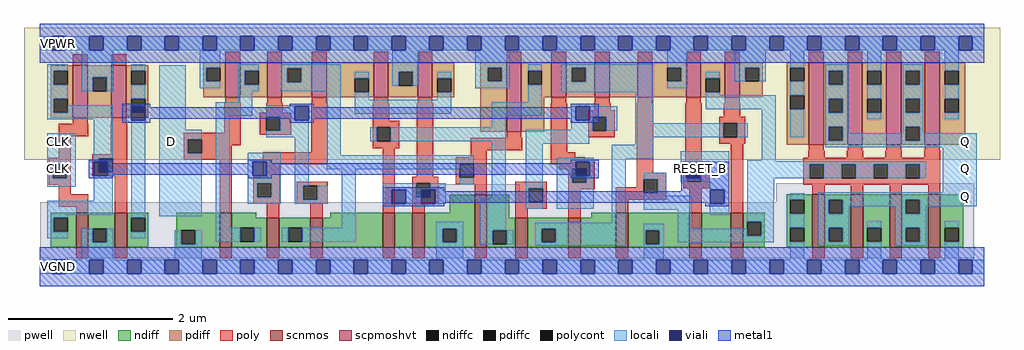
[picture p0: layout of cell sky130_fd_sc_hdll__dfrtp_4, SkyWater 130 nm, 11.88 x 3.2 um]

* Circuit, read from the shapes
.subckt sky130_fd_sc_hdll__dfrtp_4 CLK D RESET_B VGND VNB VPB VPWR Q
XM1 VGND CLK n1 VNB sky130_fd_pr__nfet_01v8 w=0.42 l=0.15
XM2 n2 n1 VGND VNB sky130_fd_pr__nfet_01v8 w=0.42 l=0.15
XM3 n3 D VGND VNB sky130_fd_pr__nfet_01v8 w=0.42 l=0.15
XM4 n4 n1 n3 VNB sky130_fd_pr__nfet_01v8 w=0.36 l=0.15
XM5 n5 n2 n4 VNB sky130_fd_pr__nfet_01v8 w=0.36 l=0.15
XM6 n6 n7 n5 VNB sky130_fd_pr__nfet_01v8 w=0.42 l=0.15
XM7 VGND RESET_B n6 VNB sky130_fd_pr__nfet_01v8 w=0.42 l=0.15
XM8 n7 n4 VGND VNB sky130_fd_pr__nfet_01v8 w=0.64 l=0.15
XM9 n8 n2 n7 VNB sky130_fd_pr__nfet_01v8 w=0.36 l=0.15
XM10 n9 n1 n8 VNB sky130_fd_pr__nfet_01v8 w=0.36 l=0.15
XM11 VGND n10 n9 VNB sky130_fd_pr__nfet_01v8 w=0.42 l=0.15
XM12 n11 RESET_B VGND VNB sky130_fd_pr__nfet_01v8 w=0.42 l=0.15
XM13 n10 n8 n11 VNB sky130_fd_pr__nfet_01v8 w=0.42 l=0.15
XM14 Q n10 VGND VNB sky130_fd_pr__nfet_01v8 w=0.65 l=0.15 m=4
XM15 VPWR CLK n1 VPB sky130_fd_pr__pfet_01v8_hvt w=0.64 l=0.18
XM16 n2 n1 VPWR VPB sky130_fd_pr__pfet_01v8_hvt w=0.64 l=0.18
XM17 n3 D VPWR VPB sky130_fd_pr__pfet_01v8_hvt w=0.42 l=0.18
XM18 n4 n2 n3 VPB sky130_fd_pr__pfet_01v8_hvt w=0.42 l=0.18
XM19 n12 n1 n4 VPB sky130_fd_pr__pfet_01v8_hvt w=0.42 l=0.18
XM20 VPWR n7 n12 VPB sky130_fd_pr__pfet_01v8_hvt w=0.42 l=0.18
XM21 n12 RESET_B VPWR VPB sky130_fd_pr__pfet_01v8_hvt w=0.42 l=0.18
XM22 n7 n4 VPWR VPB sky130_fd_pr__pfet_01v8_hvt w=0.84 l=0.18
XM23 n8 n1 n7 VPB sky130_fd_pr__pfet_01v8_hvt w=0.42 l=0.18
XM24 n13 n2 n8 VPB sky130_fd_pr__pfet_01v8_hvt w=0.42 l=0.18
XM25 VPWR n10 n13 VPB sky130_fd_pr__pfet_01v8_hvt w=0.42 l=0.18
XM26 n10 RESET_B VPWR VPB sky130_fd_pr__pfet_01v8_hvt w=0.42 l=0.18
XM27 VPWR n8 n10 VPB sky130_fd_pr__pfet_01v8_hvt w=0.42 l=0.18
XM28 Q n10 VPWR VPB sky130_fd_pr__pfet_01v8_hvt w=1 l=0.18 m=4
.ends

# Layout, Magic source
magic
tech sky130A
magscale 1 2
<< nwell >>
rect -38 261 2338 582
<< pwell >>
rect 973 157 1169 201
rect 1793 157 2275 203
rect 1 21 2275 157
rect 29 -17 63 21
<< scnmos >>
rect 89 47 119 131
rect 183 47 213 131
rect 438 47 468 131
rect 553 47 583 119
rect 659 47 689 119
rect 835 47 865 131
rect 907 47 937 131
rect 1059 47 1089 175
rect 1158 47 1188 119
rect 1287 47 1317 119
rect 1403 47 1433 131
rect 1582 47 1612 131
rect 1683 47 1713 131
rect 1881 47 1911 177
rect 1975 47 2005 177
rect 2069 47 2099 177
rect 2163 47 2193 177
<< scpmoshvt >>
rect 81 363 117 491
rect 175 363 211 491
rect 452 413 488 497
rect 554 413 590 497
rect 663 413 699 497
rect 813 413 849 497
rect 920 413 956 497
rect 1137 329 1173 497
rect 1246 413 1282 497
rect 1352 413 1388 497
rect 1456 413 1492 497
rect 1574 413 1610 497
rect 1668 413 1704 497
rect 1873 297 1909 497
rect 1967 297 2003 497
rect 2061 297 2097 497
rect 2155 297 2191 497
<< ndiff >>
rect 27 119 89 131
rect 27 85 35 119
rect 69 85 89 119
rect 27 47 89 85
rect 119 93 183 131
rect 119 59 129 93
rect 163 59 183 93
rect 119 47 183 59
rect 213 119 265 131
rect 213 85 223 119
rect 257 85 265 119
rect 213 47 265 85
rect 333 89 438 131
rect 333 55 345 89
rect 379 55 438 89
rect 333 47 438 55
rect 468 119 528 131
rect 999 131 1059 175
rect 707 119 835 131
rect 468 95 553 119
rect 468 61 488 95
rect 522 61 553 95
rect 468 47 553 61
rect 583 95 659 119
rect 583 61 605 95
rect 639 61 659 95
rect 583 47 659 61
rect 689 47 835 119
rect 865 47 907 131
rect 937 93 1059 131
rect 937 59 981 93
rect 1015 59 1059 93
rect 937 47 1059 59
rect 1089 119 1143 175
rect 1819 163 1881 177
rect 1343 119 1403 131
rect 1089 89 1158 119
rect 1089 55 1103 89
rect 1137 55 1158 89
rect 1089 47 1158 55
rect 1188 93 1287 119
rect 1188 59 1223 93
rect 1257 59 1287 93
rect 1188 47 1287 59
rect 1317 47 1403 119
rect 1433 89 1582 131
rect 1433 55 1475 89
rect 1509 55 1582 89
rect 1433 47 1582 55
rect 1612 47 1683 131
rect 1713 109 1765 131
rect 1713 75 1723 109
rect 1757 75 1765 109
rect 1713 47 1765 75
rect 1819 129 1827 163
rect 1861 129 1881 163
rect 1819 95 1881 129
rect 1819 61 1827 95
rect 1861 61 1881 95
rect 1819 47 1881 61
rect 1911 163 1975 177
rect 1911 129 1921 163
rect 1955 129 1975 163
rect 1911 95 1975 129
rect 1911 61 1921 95
rect 1955 61 1975 95
rect 1911 47 1975 61
rect 2005 95 2069 177
rect 2005 61 2015 95
rect 2049 61 2069 95
rect 2005 47 2069 61
rect 2099 163 2163 177
rect 2099 129 2109 163
rect 2143 129 2163 163
rect 2099 95 2163 129
rect 2099 61 2109 95
rect 2143 61 2163 95
rect 2099 47 2163 61
rect 2193 95 2249 177
rect 2193 61 2203 95
rect 2237 61 2249 95
rect 2193 47 2249 61
<< pdiff >>
rect 27 477 81 491
rect 27 443 35 477
rect 69 443 81 477
rect 27 409 81 443
rect 27 375 35 409
rect 69 375 81 409
rect 27 363 81 375
rect 117 461 175 491
rect 117 427 129 461
rect 163 427 175 461
rect 117 363 175 427
rect 211 477 265 491
rect 211 443 223 477
rect 257 443 265 477
rect 211 409 265 443
rect 398 485 452 497
rect 398 451 406 485
rect 440 451 452 485
rect 398 413 452 451
rect 488 477 554 497
rect 488 443 500 477
rect 534 443 554 477
rect 488 413 554 443
rect 590 483 663 497
rect 590 449 603 483
rect 637 449 663 483
rect 590 413 663 449
rect 699 459 813 497
rect 699 425 767 459
rect 801 425 813 459
rect 699 413 813 425
rect 849 475 920 497
rect 849 441 874 475
rect 908 441 920 475
rect 849 413 920 441
rect 956 459 1010 497
rect 956 425 968 459
rect 1002 425 1010 459
rect 956 413 1010 425
rect 1073 485 1137 497
rect 1073 451 1091 485
rect 1125 451 1137 485
rect 211 375 223 409
rect 257 375 265 409
rect 211 363 265 375
rect 1073 329 1137 451
rect 1173 477 1246 497
rect 1173 443 1189 477
rect 1223 443 1246 477
rect 1173 413 1246 443
rect 1282 484 1352 497
rect 1282 450 1296 484
rect 1330 450 1352 484
rect 1282 413 1352 450
rect 1388 413 1456 497
rect 1492 485 1574 497
rect 1492 451 1528 485
rect 1562 451 1574 485
rect 1492 413 1574 451
rect 1610 459 1668 497
rect 1610 425 1622 459
rect 1656 425 1668 459
rect 1610 413 1668 425
rect 1704 485 1760 497
rect 1704 451 1718 485
rect 1752 451 1760 485
rect 1704 413 1760 451
rect 1819 485 1873 497
rect 1819 451 1827 485
rect 1861 451 1873 485
rect 1819 417 1873 451
rect 1173 329 1229 413
rect 1819 383 1827 417
rect 1861 383 1873 417
rect 1819 297 1873 383
rect 1909 477 1967 497
rect 1909 443 1921 477
rect 1955 443 1967 477
rect 1909 409 1967 443
rect 1909 375 1921 409
rect 1955 375 1967 409
rect 1909 341 1967 375
rect 1909 307 1921 341
rect 1955 307 1967 341
rect 1909 297 1967 307
rect 2003 477 2061 497
rect 2003 443 2015 477
rect 2049 443 2061 477
rect 2003 409 2061 443
rect 2003 375 2015 409
rect 2049 375 2061 409
rect 2003 297 2061 375
rect 2097 477 2155 497
rect 2097 443 2109 477
rect 2143 443 2155 477
rect 2097 409 2155 443
rect 2097 375 2109 409
rect 2143 375 2155 409
rect 2097 341 2155 375
rect 2097 307 2109 341
rect 2143 307 2155 341
rect 2097 297 2155 307
rect 2191 477 2254 497
rect 2191 443 2203 477
rect 2237 443 2254 477
rect 2191 409 2254 443
rect 2191 375 2203 409
rect 2237 375 2254 409
rect 2191 297 2254 375
<< ndiffc >>
rect 35 85 69 119
rect 129 59 163 93
rect 223 85 257 119
rect 345 55 379 89
rect 488 61 522 95
rect 605 61 639 95
rect 981 59 1015 93
rect 1103 55 1137 89
rect 1223 59 1257 93
rect 1475 55 1509 89
rect 1723 75 1757 109
rect 1827 129 1861 163
rect 1827 61 1861 95
rect 1921 129 1955 163
rect 1921 61 1955 95
rect 2015 61 2049 95
rect 2109 129 2143 163
rect 2109 61 2143 95
rect 2203 61 2237 95
<< pdiffc >>
rect 35 443 69 477
rect 35 375 69 409
rect 129 427 163 461
rect 223 443 257 477
rect 406 451 440 485
rect 500 443 534 477
rect 603 449 637 483
rect 767 425 801 459
rect 874 441 908 475
rect 968 425 1002 459
rect 1091 451 1125 485
rect 223 375 257 409
rect 1189 443 1223 477
rect 1296 450 1330 484
rect 1528 451 1562 485
rect 1622 425 1656 459
rect 1718 451 1752 485
rect 1827 451 1861 485
rect 1827 383 1861 417
rect 1921 443 1955 477
rect 1921 375 1955 409
rect 1921 307 1955 341
rect 2015 443 2049 477
rect 2015 375 2049 409
rect 2109 443 2143 477
rect 2109 375 2143 409
rect 2109 307 2143 341
rect 2203 443 2237 477
rect 2203 375 2237 409
<< poly >>
rect 81 491 117 517
rect 175 491 211 517
rect 452 497 488 523
rect 554 497 590 523
rect 663 497 699 523
rect 813 497 849 523
rect 920 497 956 523
rect 1137 497 1173 523
rect 1246 497 1282 523
rect 1352 497 1388 523
rect 1456 497 1492 523
rect 1574 497 1610 523
rect 1668 497 1704 523
rect 1873 497 1909 523
rect 1967 497 2003 523
rect 2061 497 2097 523
rect 2155 497 2191 523
rect 452 398 488 413
rect 554 398 590 413
rect 663 398 699 413
rect 813 398 849 413
rect 920 398 956 413
rect 81 348 117 363
rect 175 348 211 363
rect 46 318 119 348
rect 46 265 76 318
rect 173 274 213 348
rect 450 326 490 398
rect 552 375 592 398
rect 22 249 76 265
rect 22 215 32 249
rect 66 215 76 249
rect 128 264 213 274
rect 128 230 144 264
rect 178 230 213 264
rect 351 310 490 326
rect 536 365 612 375
rect 536 331 552 365
rect 586 331 612 365
rect 536 321 612 331
rect 351 276 361 310
rect 395 296 490 310
rect 395 276 468 296
rect 661 279 701 398
rect 811 355 851 398
rect 811 339 876 355
rect 811 305 821 339
rect 855 305 876 339
rect 811 289 876 305
rect 351 260 468 276
rect 128 220 213 230
rect 22 199 76 215
rect 46 176 76 199
rect 46 146 119 176
rect 89 131 119 146
rect 183 131 213 220
rect 438 131 468 260
rect 543 249 701 279
rect 543 219 584 249
rect 520 203 584 219
rect 520 169 530 203
rect 564 169 584 203
rect 520 153 584 169
rect 626 197 702 207
rect 626 163 642 197
rect 676 163 702 197
rect 626 153 702 163
rect 553 119 583 153
rect 659 119 689 153
rect 835 131 865 289
rect 918 219 958 398
rect 1246 398 1282 413
rect 1352 398 1388 413
rect 1456 398 1492 413
rect 1574 398 1610 413
rect 1668 398 1704 413
rect 1137 314 1173 329
rect 1049 284 1175 314
rect 1049 267 1089 284
rect 1013 251 1089 267
rect 907 203 971 219
rect 907 169 917 203
rect 951 169 971 203
rect 1013 217 1023 251
rect 1057 217 1089 251
rect 1244 279 1284 398
rect 1350 381 1390 398
rect 1336 365 1400 381
rect 1336 331 1346 365
rect 1380 331 1400 365
rect 1336 315 1400 331
rect 1244 267 1304 279
rect 1244 255 1327 267
rect 1244 249 1351 255
rect 1265 239 1351 249
rect 1265 237 1297 239
rect 1013 201 1089 217
rect 1059 175 1089 201
rect 1158 191 1235 207
rect 907 153 971 169
rect 907 131 937 153
rect 1158 157 1191 191
rect 1225 157 1235 191
rect 1158 141 1235 157
rect 1287 205 1297 237
rect 1331 205 1351 239
rect 1287 189 1351 205
rect 1454 229 1494 398
rect 1572 257 1612 398
rect 1666 365 1706 398
rect 1654 349 1718 365
rect 1654 315 1664 349
rect 1698 315 1718 349
rect 1654 299 1718 315
rect 1567 241 1631 257
rect 1454 213 1525 229
rect 1454 193 1471 213
rect 1158 119 1188 141
rect 1287 119 1317 189
rect 1403 179 1471 193
rect 1505 179 1525 213
rect 1567 207 1577 241
rect 1611 207 1631 241
rect 1567 191 1631 207
rect 1403 163 1525 179
rect 1403 131 1433 163
rect 1582 131 1612 191
rect 1683 131 1713 299
rect 1873 282 1909 297
rect 1967 282 2003 297
rect 2061 282 2097 297
rect 2155 282 2191 297
rect 1871 265 1911 282
rect 1965 265 2005 282
rect 2059 265 2099 282
rect 2153 265 2193 282
rect 1859 249 2193 265
rect 1859 215 1875 249
rect 1909 215 1953 249
rect 1987 215 2031 249
rect 2065 215 2109 249
rect 2143 215 2193 249
rect 1859 199 2193 215
rect 1881 177 1911 199
rect 1975 177 2005 199
rect 2069 177 2099 199
rect 2163 177 2193 199
rect 89 21 119 47
rect 183 21 213 47
rect 438 21 468 47
rect 553 21 583 47
rect 659 21 689 47
rect 835 21 865 47
rect 907 21 937 47
rect 1059 21 1089 47
rect 1158 21 1188 47
rect 1287 21 1317 47
rect 1403 21 1433 47
rect 1582 21 1612 47
rect 1683 21 1713 47
rect 1881 21 1911 47
rect 1975 21 2005 47
rect 2069 21 2099 47
rect 2163 21 2193 47
<< polycont >>
rect 32 215 66 249
rect 144 230 178 264
rect 552 331 586 365
rect 361 276 395 310
rect 821 305 855 339
rect 530 169 564 203
rect 642 163 676 197
rect 917 169 951 203
rect 1023 217 1057 251
rect 1346 331 1380 365
rect 1191 157 1225 191
rect 1297 205 1331 239
rect 1664 315 1698 349
rect 1471 179 1505 213
rect 1577 207 1611 241
rect 1875 215 1909 249
rect 1953 215 1987 249
rect 2031 215 2065 249
rect 2109 215 2143 249
<< locali >>
rect 0 527 29 561
rect 63 527 121 561
rect 155 527 213 561
rect 247 527 305 561
rect 339 527 397 561
rect 431 527 489 561
rect 523 527 581 561
rect 615 527 673 561
rect 707 527 765 561
rect 799 527 857 561
rect 891 527 949 561
rect 983 527 1041 561
rect 1075 527 1133 561
rect 1167 527 1225 561
rect 1259 527 1317 561
rect 1351 527 1409 561
rect 1443 527 1501 561
rect 1535 527 1593 561
rect 1627 527 1685 561
rect 1719 527 1777 561
rect 1811 527 1869 561
rect 1903 527 1961 561
rect 1995 527 2053 561
rect 2087 527 2145 561
rect 2179 527 2237 561
rect 2271 527 2300 561
rect 18 477 69 493
rect 18 443 35 477
rect 18 409 69 443
rect 103 461 179 527
rect 103 427 129 461
rect 163 427 179 461
rect 223 477 257 493
rect 18 375 35 409
rect 223 409 257 443
rect 69 375 178 393
rect 18 359 178 375
rect 18 249 88 325
rect 18 215 32 249
rect 66 215 88 249
rect 18 195 88 215
rect 132 264 178 359
rect 132 255 144 264
rect 166 221 178 230
rect 132 161 178 221
rect 18 127 178 161
rect 18 119 69 127
rect 18 85 35 119
rect 223 119 257 357
rect 291 333 356 490
rect 390 485 440 527
rect 390 451 406 485
rect 390 435 440 451
rect 484 477 534 493
rect 484 443 500 477
rect 484 427 534 443
rect 587 483 733 493
rect 587 449 603 483
rect 637 449 733 483
rect 858 475 924 527
rect 1061 485 1145 527
rect 587 427 733 449
rect 484 401 518 427
rect 429 367 518 401
rect 552 391 655 393
rect 291 310 395 333
rect 291 276 361 310
rect 291 123 395 276
rect 18 69 69 85
rect 103 59 129 93
rect 163 59 179 93
rect 429 95 463 367
rect 552 365 621 391
rect 586 357 621 365
rect 586 331 655 357
rect 552 315 655 331
rect 507 255 587 277
rect 507 221 519 255
rect 553 221 587 255
rect 507 203 587 221
rect 507 169 530 203
rect 564 169 587 203
rect 507 153 587 169
rect 621 197 655 315
rect 699 271 733 427
rect 767 459 801 475
rect 858 441 874 475
rect 908 441 924 475
rect 968 459 1002 475
rect 767 407 801 425
rect 1061 451 1091 485
rect 1125 451 1145 485
rect 1061 435 1145 451
rect 1189 477 1223 493
rect 968 407 1002 425
rect 767 373 1002 407
rect 1189 401 1223 443
rect 1270 484 1494 493
rect 1270 450 1296 484
rect 1330 450 1494 484
rect 1270 425 1494 450
rect 1528 485 1578 527
rect 1562 451 1578 485
rect 1692 485 1768 527
rect 1528 435 1578 451
rect 1622 459 1656 475
rect 1101 367 1223 401
rect 1101 339 1135 367
rect 805 305 821 339
rect 855 305 1135 339
rect 1294 357 1305 391
rect 1339 365 1406 391
rect 1339 357 1346 365
rect 1294 333 1346 357
rect 699 251 1057 271
rect 699 237 1023 251
rect 621 163 642 197
rect 676 163 702 197
rect 621 153 702 163
rect 736 95 770 237
rect 835 187 917 203
rect 951 187 989 203
rect 1023 201 1057 217
rect 835 153 857 187
rect 891 169 917 187
rect 891 153 929 169
rect 963 153 989 187
rect 1101 167 1135 305
rect 223 69 257 85
rect 103 17 179 59
rect 329 55 345 89
rect 379 55 395 89
rect 429 61 488 95
rect 522 61 538 95
rect 589 61 605 95
rect 639 61 770 95
rect 965 93 1031 109
rect 329 17 395 55
rect 965 59 981 93
rect 1015 59 1031 93
rect 965 17 1031 59
rect 1073 89 1135 167
rect 1183 331 1346 333
rect 1380 331 1406 365
rect 1450 349 1494 425
rect 1692 451 1718 485
rect 1752 451 1768 485
rect 1827 485 1861 527
rect 1622 417 1656 425
rect 1827 417 1861 451
rect 1622 383 1792 417
rect 1183 299 1338 331
rect 1450 315 1664 349
rect 1698 315 1724 349
rect 1183 191 1225 299
rect 1450 297 1494 315
rect 1183 157 1191 191
rect 1183 141 1225 157
rect 1259 255 1349 265
rect 1259 239 1305 255
rect 1259 205 1297 239
rect 1339 221 1349 255
rect 1331 205 1349 221
rect 1259 141 1349 205
rect 1393 263 1494 297
rect 1393 107 1427 263
rect 1561 250 1679 281
rect 1758 259 1792 383
rect 1827 315 1861 383
rect 1913 477 1971 493
rect 1913 443 1921 477
rect 1955 443 1971 477
rect 1913 409 1971 443
rect 1913 375 1921 409
rect 1955 375 1971 409
rect 1913 341 1971 375
rect 2015 477 2049 527
rect 2015 409 2049 443
rect 2015 359 2049 375
rect 2101 477 2151 493
rect 2101 443 2109 477
rect 2143 443 2151 477
rect 2101 409 2151 443
rect 2101 375 2109 409
rect 2143 375 2151 409
rect 1913 307 1921 341
rect 1955 325 1971 341
rect 2101 341 2151 375
rect 2203 477 2237 527
rect 2203 409 2237 443
rect 2203 359 2237 375
rect 2101 325 2109 341
rect 1955 307 2109 325
rect 2143 325 2151 341
rect 2143 307 2281 325
rect 1913 291 2281 307
rect 1471 213 1525 229
rect 1505 179 1525 213
rect 1561 216 1574 250
rect 1608 241 1679 250
rect 1561 207 1577 216
rect 1611 207 1679 241
rect 1471 173 1525 179
rect 1631 187 1679 207
rect 1471 139 1587 173
rect 1207 93 1427 107
rect 1073 55 1103 89
rect 1137 55 1153 89
rect 1207 59 1223 93
rect 1257 59 1427 93
rect 1207 51 1427 59
rect 1471 89 1519 105
rect 1471 55 1475 89
rect 1509 55 1519 89
rect 1553 93 1587 139
rect 1631 153 1633 187
rect 1667 153 1679 187
rect 1631 127 1679 153
rect 1723 257 1792 259
rect 1723 249 2159 257
rect 1723 215 1875 249
rect 1909 215 1953 249
rect 1987 215 2031 249
rect 2065 215 2109 249
rect 2143 215 2159 249
rect 1723 164 1788 215
rect 2199 181 2281 291
rect 1723 109 1787 164
rect 1553 75 1723 93
rect 1757 75 1787 109
rect 1553 59 1787 75
rect 1827 163 1861 179
rect 1827 95 1861 129
rect 1471 17 1519 55
rect 1827 17 1861 61
rect 1895 163 2281 181
rect 1895 129 1921 163
rect 1955 147 2109 163
rect 1955 129 1971 147
rect 1895 95 1971 129
rect 2083 129 2109 147
rect 2143 147 2281 163
rect 2143 129 2159 147
rect 1895 61 1921 95
rect 1955 61 1971 95
rect 1895 51 1971 61
rect 2015 95 2049 111
rect 2015 17 2049 61
rect 2083 95 2159 129
rect 2083 61 2109 95
rect 2143 61 2159 95
rect 2083 51 2159 61
rect 2203 95 2237 111
rect 2203 17 2237 61
rect 0 -17 29 17
rect 63 -17 121 17
rect 155 -17 213 17
rect 247 -17 305 17
rect 339 -17 397 17
rect 431 -17 489 17
rect 523 -17 581 17
rect 615 -17 673 17
rect 707 -17 765 17
rect 799 -17 857 17
rect 891 -17 949 17
rect 983 -17 1041 17
rect 1075 -17 1133 17
rect 1167 -17 1225 17
rect 1259 -17 1317 17
rect 1351 -17 1409 17
rect 1443 -17 1501 17
rect 1535 -17 1593 17
rect 1627 -17 1685 17
rect 1719 -17 1777 17
rect 1811 -17 1869 17
rect 1903 -17 1961 17
rect 1995 -17 2053 17
rect 2087 -17 2145 17
rect 2179 -17 2237 17
rect 2271 -17 2300 17
<< viali >>
rect 29 527 63 561
rect 121 527 155 561
rect 213 527 247 561
rect 305 527 339 561
rect 397 527 431 561
rect 489 527 523 561
rect 581 527 615 561
rect 673 527 707 561
rect 765 527 799 561
rect 857 527 891 561
rect 949 527 983 561
rect 1041 527 1075 561
rect 1133 527 1167 561
rect 1225 527 1259 561
rect 1317 527 1351 561
rect 1409 527 1443 561
rect 1501 527 1535 561
rect 1593 527 1627 561
rect 1685 527 1719 561
rect 1777 527 1811 561
rect 1869 527 1903 561
rect 1961 527 1995 561
rect 2053 527 2087 561
rect 2145 527 2179 561
rect 2237 527 2271 561
rect 132 230 144 255
rect 144 230 166 255
rect 132 221 166 230
rect 223 375 257 391
rect 223 357 257 375
rect 621 357 655 391
rect 519 221 553 255
rect 1305 357 1339 391
rect 857 153 891 187
rect 929 169 951 187
rect 951 169 963 187
rect 929 153 963 169
rect 1305 239 1339 255
rect 1305 221 1331 239
rect 1331 221 1339 239
rect 1574 241 1608 250
rect 1574 216 1577 241
rect 1577 216 1608 241
rect 1633 153 1667 187
rect 29 -17 63 17
rect 121 -17 155 17
rect 213 -17 247 17
rect 305 -17 339 17
rect 397 -17 431 17
rect 489 -17 523 17
rect 581 -17 615 17
rect 673 -17 707 17
rect 765 -17 799 17
rect 857 -17 891 17
rect 949 -17 983 17
rect 1041 -17 1075 17
rect 1133 -17 1167 17
rect 1225 -17 1259 17
rect 1317 -17 1351 17
rect 1409 -17 1443 17
rect 1501 -17 1535 17
rect 1593 -17 1627 17
rect 1685 -17 1719 17
rect 1777 -17 1811 17
rect 1869 -17 1903 17
rect 1961 -17 1995 17
rect 2053 -17 2087 17
rect 2145 -17 2179 17
rect 2237 -17 2271 17
<< metal1 >>
rect 0 561 2300 592
rect 0 527 29 561
rect 63 527 121 561
rect 155 527 213 561
rect 247 527 305 561
rect 339 527 397 561
rect 431 527 489 561
rect 523 527 581 561
rect 615 527 673 561
rect 707 527 765 561
rect 799 527 857 561
rect 891 527 949 561
rect 983 527 1041 561
rect 1075 527 1133 561
rect 1167 527 1225 561
rect 1259 527 1317 561
rect 1351 527 1409 561
rect 1443 527 1501 561
rect 1535 527 1593 561
rect 1627 527 1685 561
rect 1719 527 1777 561
rect 1811 527 1869 561
rect 1903 527 1961 561
rect 1995 527 2053 561
rect 2087 527 2145 561
rect 2179 527 2237 561
rect 2271 527 2300 561
rect 0 496 2300 527
rect 201 391 269 397
rect 201 357 223 391
rect 257 388 269 391
rect 609 391 667 397
rect 609 388 621 391
rect 257 360 621 388
rect 257 357 269 360
rect 201 351 269 357
rect 609 357 621 360
rect 655 388 667 391
rect 1293 391 1361 397
rect 1293 388 1305 391
rect 655 360 1305 388
rect 655 357 667 360
rect 609 351 667 357
rect 1293 357 1305 360
rect 1339 357 1361 391
rect 1293 351 1361 357
rect 120 255 178 261
rect 120 221 132 255
rect 166 252 178 255
rect 507 255 565 261
rect 507 252 519 255
rect 166 224 519 252
rect 166 221 178 224
rect 120 215 178 221
rect 507 221 519 224
rect 553 252 565 255
rect 1293 255 1361 261
rect 1293 252 1305 255
rect 553 224 1305 252
rect 553 221 565 224
rect 507 215 565 221
rect 1293 221 1305 224
rect 1339 221 1361 255
rect 1293 215 1361 221
rect 1562 250 1679 256
rect 1562 216 1574 250
rect 1608 216 1679 250
rect 835 187 985 193
rect 835 153 857 187
rect 891 153 929 187
rect 963 184 985 187
rect 1562 187 1679 216
rect 1562 184 1633 187
rect 963 156 1633 184
rect 963 153 985 156
rect 835 147 985 153
rect 1621 153 1633 156
rect 1667 153 1679 187
rect 1621 147 1679 153
rect 0 17 2300 48
rect 0 -17 29 17
rect 63 -17 121 17
rect 155 -17 213 17
rect 247 -17 305 17
rect 339 -17 397 17
rect 431 -17 489 17
rect 523 -17 581 17
rect 615 -17 673 17
rect 707 -17 765 17
rect 799 -17 857 17
rect 891 -17 949 17
rect 983 -17 1041 17
rect 1075 -17 1133 17
rect 1167 -17 1225 17
rect 1259 -17 1317 17
rect 1351 -17 1409 17
rect 1443 -17 1501 17
rect 1535 -17 1593 17
rect 1627 -17 1685 17
rect 1719 -17 1777 17
rect 1811 -17 1869 17
rect 1903 -17 1961 17
rect 1995 -17 2053 17
rect 2087 -17 2145 17
rect 2179 -17 2237 17
rect 2271 -17 2300 17
rect 0 -48 2300 -17
<< labels >>
flabel locali s 2237 289 2271 323 0 FreeSans 400 0 0 0 Q
port 8 nsew signal output
flabel locali s 305 289 339 323 0 FreeSans 400 0 0 0 D
port 2 nsew signal input
flabel locali s 30 289 64 323 0 FreeSans 400 0 0 0 CLK
port 1 nsew signal input
flabel locali s 30 221 64 255 0 FreeSans 400 0 0 0 CLK
port 1 nsew signal input
flabel locali s 2237 153 2271 187 0 FreeSans 400 0 0 0 Q
port 8 nsew signal output
flabel locali s 2237 221 2271 255 0 FreeSans 400 0 0 0 Q
port 8 nsew signal output
flabel metal1 s 29 -17 63 17 0 FreeSans 200 0 0 0 VGND
port 4 nsew ground bidirectional
flabel metal1 s 29 527 63 561 0 FreeSans 200 0 0 0 VPWR
port 7 nsew power bidirectional
flabel metal1 s 1593 221 1627 255 0 FreeSans 400 0 0 0 RESET_B
port 3 nsew signal input
flabel nwell s 29 527 63 561 0 FreeSans 200 0 0 0 VPB
port 6 nsew power bidirectional
flabel pwell s 29 -17 63 17 0 FreeSans 200 0 0 0 VNB
port 5 nsew ground bidirectional
rlabel comment s 0 0 0 0 4 dfrtp_4
<< properties >>
string LEFsite unithd
string LEFclass CORE
string FIXED_BBOX 0 0 2300 544
string GDS_FILE $PDKPATH/libs.ref/sky130_fd_sc_hdll/gds/sky130_fd_sc_hdll.gds
string LEFsymmetry X Y R90
string GDS_END 708282
string GDS_START 691504
string LEFproperties maskLayoutSubType "abstract" prCellType "standard" originalViewName "layout"
<< end >>
